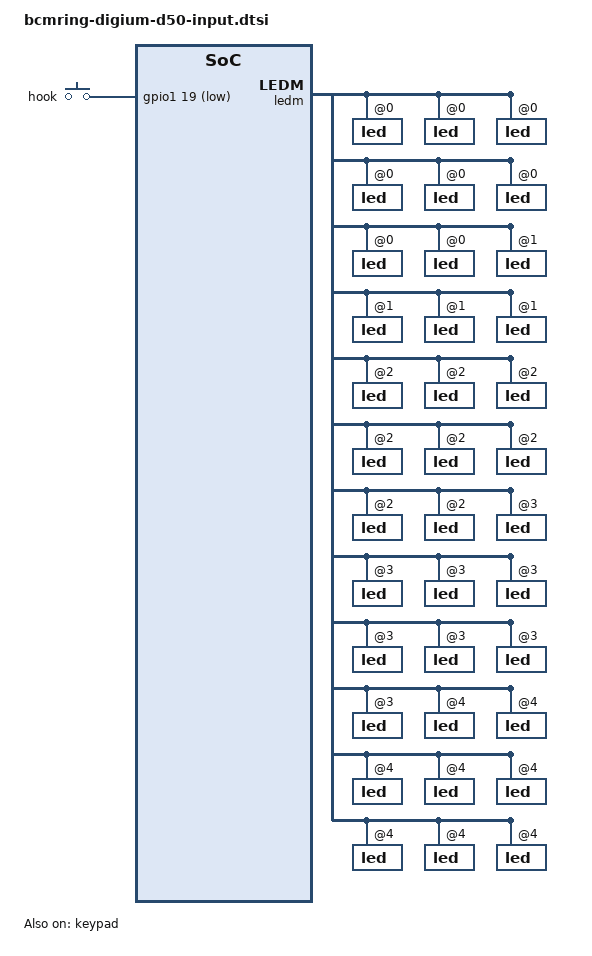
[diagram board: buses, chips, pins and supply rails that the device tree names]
// SPDX-License-Identifier: (GPL-2.0-only OR BSD-2-Clause)
/*
 * Digium/Sangoma D50: keypad, hookswitch, and lamps.  FIRST DRAFT,
 * untested.
 *
 * Generated from the D50 vendor kernel (Linux 2.6.27.18):
 * BCMRING_CUSTOM_keypad_keymap (47 entries), the LED label table, and
 * the ledm/keypad platform data.
 *
 * Key codes: digium-keys.h keeps the vendor ASCII codes unless
 * DIGIUM_KEYS_PROPOSED is defined before this file is included.  The DGK_
 * names are the functions found by pressing the keys on a D60, a D40, and
 * a D50.
 */

#include <dt-bindings/leds/common.h>
#include "digium-keys.h"

&pinmux {
	/* Keypad: columns on GPIO 43, 44, 45, 46, 47, 48, 49, rows on GPIO 52, 53, 54, 55, 56, 57, 58, function 1. */
	keypad_pins: keypad-pins {
		pinctrl-single,bits =
			<0x14 0x11111000 0xfffff000>,
			<0x18 0x11110011 0xffff00ff>,
			<0x1c 0x00000111 0x00000fff>;
	};

	/* LED matrix: columns on GPIO 0..7, rows on GPIO 16..20, function 5. */
	ledm_pins: ledm-pins {
		pinctrl-single,bits =
			<0x00 0x55555555 0xffffffff>,
			<0x08 0x00055555 0x000fffff>;
	};
};

&keypad {
	pinctrl-names = "default";
	pinctrl-0 = <&keypad_pins>;
	keypad,num-rows = <7>;
	keypad,num-columns = <7>;
	status = "okay";

	/* MATRIX_KEY(row, column, code); vendor scan code = (row << 4) | column. */
	linux,keymap = <
		MATRIX_KEY(0, 0, DGK_MUTE)	/* scan 0x00, vendor 'm' (109) */
		MATRIX_KEY(0, 1, DGK_SPEAKER)	/* scan 0x01, vendor 'f' (102) */
		MATRIX_KEY(0, 2, DGK_HEADSET)	/* scan 0x02, vendor 'g' (103) */
		MATRIX_KEY(0, 3, DGK_VOLUP)	/* scan 0x03, vendor '>' (62) */
		MATRIX_KEY(0, 4, DGK_VOLDOWN)	/* scan 0x04, vendor '<' (60) */
		MATRIX_KEY(0, 5, DGK_BLF8)	/* scan 0x05, vendor 'n' (110) */
		MATRIX_KEY(0, 6, DGK_BLF1)	/* scan 0x06, vendor 'w' (119) */
		MATRIX_KEY(1, 0, DGK_TRANSFER)	/* scan 0x10, vendor 't' (116) */
		MATRIX_KEY(1, 1, DGK_SOFT1)	/* scan 0x11, vendor '(' (40) */
		MATRIX_KEY(1, 2, DGK_POUND)	/* scan 0x12, vendor '#' (35) */
		MATRIX_KEY(1, 3, DGK_0)	/* scan 0x13, vendor '0' (48) */
		MATRIX_KEY(1, 4, DGK_STAR)	/* scan 0x14, vendor '*' (42) */
		MATRIX_KEY(1, 5, DGK_BLF9)	/* scan 0x15, vendor 'o' (111) */
		MATRIX_KEY(1, 6, DGK_BLF2)	/* scan 0x16, vendor 'x' (120) */
		MATRIX_KEY(2, 0, DGK_MSGS)	/* scan 0x20, vendor 'a' (97) */
		MATRIX_KEY(2, 1, DGK_SOFT2)	/* scan 0x21, vendor 'c' (99) */
		MATRIX_KEY(2, 2, DGK_9)	/* scan 0x22, vendor '9' (57) */
		MATRIX_KEY(2, 3, DGK_8)	/* scan 0x23, vendor '8' (56) */
		MATRIX_KEY(2, 4, DGK_7)	/* scan 0x24, vendor '7' (55) */
		MATRIX_KEY(2, 5, DGK_BLF10)	/* scan 0x25, vendor 'p' (112) */
		MATRIX_KEY(2, 6, DGK_BLF3)	/* scan 0x26, vendor 'y' (121) */
		MATRIX_KEY(3, 0, DGK_HOLD)	/* scan 0x30, vendor 'h' (104) */
		MATRIX_KEY(3, 1, DGK_SOFT3)	/* scan 0x31, vendor 'e' (101) */
		MATRIX_KEY(3, 2, DGK_6)	/* scan 0x32, vendor '6' (54) */
		MATRIX_KEY(3, 3, DGK_5)	/* scan 0x33, vendor '5' (53) */
		MATRIX_KEY(3, 4, DGK_4)	/* scan 0x34, vendor '4' (52) */
		MATRIX_KEY(3, 5, DGK_INFO)	/* scan 0x35, vendor 'q' (113) */
		MATRIX_KEY(3, 6, DGK_BLF4)	/* scan 0x36, vendor 'z' (122) */
		MATRIX_KEY(4, 0, DGK_REDIAL)	/* scan 0x40, vendor 'd' (100) */
		MATRIX_KEY(4, 1, DGK_SOFT4)	/* scan 0x41, vendor ')' (41) */
		MATRIX_KEY(4, 2, DGK_3)	/* scan 0x42, vendor '3' (51) */
		MATRIX_KEY(4, 3, DGK_2)	/* scan 0x43, vendor '2' (50) */
		MATRIX_KEY(4, 4, DGK_1)	/* scan 0x44, vendor '1' (49) */
		MATRIX_KEY(4, 5, DGK_CONF)	/* scan 0x45, vendor 'r' (114) */
		MATRIX_KEY(4, 6, DGK_BLF5)	/* scan 0x46, vendor 'A' (65) */
		MATRIX_KEY(5, 0, DGK_UP)	/* scan 0x50, vendor 'U' (85) */
		MATRIX_KEY(5, 1, DGK_DOWN)	/* scan 0x51, vendor 'D' (68) */
		MATRIX_KEY(5, 2, DGK_LEFT)	/* scan 0x52, vendor 'L' (76) */
		MATRIX_KEY(5, 3, DGK_RIGHT)	/* scan 0x53, vendor 'R' (82) */
		MATRIX_KEY(5, 4, DGK_LINE4)	/* scan 0x54, vendor 'k' (107) */
		MATRIX_KEY(5, 5, DGK_LINE3)	/* scan 0x55, vendor 'u' (117) */
		MATRIX_KEY(5, 6, DGK_BLF6)	/* scan 0x56, vendor 'F' (70) */
		MATRIX_KEY(6, 0, DGK_CANCEL)	/* scan 0x60, vendor 'b' (98) */
		MATRIX_KEY(6, 1, DGK_SELECT)	/* scan 0x61, vendor 'C' (67) */
		MATRIX_KEY(6, 2, DGK_LINE2)	/* scan 0x62, vendor 'i' (105) */
		MATRIX_KEY(6, 3, DGK_LINE1)	/* scan 0x63, vendor 'j' (106) */
		MATRIX_KEY(6, 5, DGK_BLF7)	/* scan 0x65, vendor 'v' (118) */
	>;
};

/ {
	hook-switch {
		compatible = "gpio-keys";

		key-hook {
			label = "hook";
			/*
			 * GPIO 51: bank 1, line 19.  Vendor reports !level.
			 * Pressed (low) = handset on the cradle; lifting it
			 * releases the key (key presses on a D60 and a D40).
			 */
			gpios = <&gpio1 19 GPIO_ACTIVE_LOW>;
			linux,code = <DGK_HOOK>;
			/* Vendor: 2 jiffies at HZ=100. */
			debounce-interval = <20>;
		};
	};
};

&ledm {
	pinctrl-names = "default";
	pinctrl-0 = <&ledm_pins>;
	/* The vendor driver always programs a 5 x 8 scan in parallel mode. */
	brcm,scan-rows = <5>;
	brcm,scan-columns = <8>;
	brcm,clk-div = <2>;
	brcm,res-div = <100>;
	brcm,on-time = <2500>;
	brcm,guard-time = <5>;
	status = "okay";


	led@0,0 {
		/* vendor "line0-green", table index 0 */
		reg = <0 0>;
		color = <LED_COLOR_ID_GREEN>;
		function = "line";
		function-enumerator = <0>;
	};

	led@0,1 {
		/* vendor "line0-red", table index 1 */
		reg = <0 1>;
		color = <LED_COLOR_ID_RED>;
		function = "line";
		function-enumerator = <0>;
	};

	led@0,2 {
		/* vendor "line1-green", table index 2 */
		reg = <0 2>;
		color = <LED_COLOR_ID_GREEN>;
		function = "line";
		function-enumerator = <1>;
	};

	led@0,3 {
		/* vendor "line1-red", table index 3 */
		reg = <0 3>;
		color = <LED_COLOR_ID_RED>;
		function = "line";
		function-enumerator = <1>;
	};

	led@0,4 {
		/* vendor "line2-green", table index 4 */
		reg = <0 4>;
		color = <LED_COLOR_ID_GREEN>;
		function = "line";
		function-enumerator = <2>;
	};

	led@0,5 {
		/* vendor "line2-red", table index 5 */
		reg = <0 5>;
		color = <LED_COLOR_ID_RED>;
		function = "line";
		function-enumerator = <2>;
	};

	led@0,6 {
		/* vendor "line3-green", table index 6 */
		reg = <0 6>;
		color = <LED_COLOR_ID_GREEN>;
		function = "line";
		function-enumerator = <3>;
	};

	led@0,7 {
		/* vendor "line3-red", table index 7 */
		reg = <0 7>;
		color = <LED_COLOR_ID_RED>;
		function = "line";
		function-enumerator = <3>;
	};

	led@1,0 {
		/* vendor "msg-green", table index 8 */
		reg = <1 0>;
		color = <LED_COLOR_ID_GREEN>;
		function = LED_FUNCTION_MAIL;
	};

	led@1,1 {
		/* vendor "msg-red", table index 9 */
		reg = <1 1>;
		color = <LED_COLOR_ID_RED>;
		function = LED_FUNCTION_MAIL;
	};

	led@1,2 {
		/* vendor "mute-green", table index 10 */
		reg = <1 2>;
		color = <LED_COLOR_ID_GREEN>;
		function = LED_FUNCTION_MUTE;
	};

	led@1,3 {
		/* vendor "mute-red", table index 11 */
		reg = <1 3>;
		color = <LED_COLOR_ID_RED>;
		function = LED_FUNCTION_MUTE;
	};

	led@2,0 {
		/* vendor "headset-green", table index 16 */
		reg = <2 0>;
		color = <LED_COLOR_ID_GREEN>;
		function = "headset";
	};

	led@2,1 {
		/* vendor "headset-red", table index 17 */
		reg = <2 1>;
		color = <LED_COLOR_ID_RED>;
		function = "headset";
	};

	led@2,2 {
		/* vendor "speaker-green", table index 18 */
		reg = <2 2>;
		color = <LED_COLOR_ID_GREEN>;
		function = "speaker";
	};

	led@2,3 {
		/* vendor "speaker-red", table index 19 */
		reg = <2 3>;
		color = <LED_COLOR_ID_RED>;
		function = "speaker";
	};

	led@2,4 {
		/* vendor "blf0-green", table index 20 */
		reg = <2 4>;
		color = <LED_COLOR_ID_GREEN>;
		function = "blf";
		function-enumerator = <0>;
	};

	led@2,5 {
		/* vendor "blf0-red", table index 21 */
		reg = <2 5>;
		color = <LED_COLOR_ID_RED>;
		function = "blf";
		function-enumerator = <0>;
	};

	led@2,6 {
		/* vendor "blf1-green", table index 22 */
		reg = <2 6>;
		color = <LED_COLOR_ID_GREEN>;
		function = "blf";
		function-enumerator = <1>;
	};

	led@2,7 {
		/* vendor "blf1-red", table index 23 */
		reg = <2 7>;
		color = <LED_COLOR_ID_RED>;
		function = "blf";
		function-enumerator = <1>;
	};

	led@3,0 {
		/* vendor "blf2-green", table index 24 */
		reg = <3 0>;
		color = <LED_COLOR_ID_GREEN>;
		function = "blf";
		function-enumerator = <2>;
	};

	led@3,1 {
		/* vendor "blf2-red", table index 25 */
		reg = <3 1>;
		color = <LED_COLOR_ID_RED>;
		function = "blf";
		function-enumerator = <2>;
	};

	led@3,2 {
		/* vendor "blf3-green", table index 26 */
		reg = <3 2>;
		color = <LED_COLOR_ID_GREEN>;
		function = "blf";
		function-enumerator = <3>;
	};

	led@3,3 {
		/* vendor "blf3-red", table index 27 */
		reg = <3 3>;
		color = <LED_COLOR_ID_RED>;
		function = "blf";
		function-enumerator = <3>;
	};

	led@3,4 {
		/* vendor "blf4-green", table index 28 */
		reg = <3 4>;
		color = <LED_COLOR_ID_GREEN>;
		function = "blf";
		function-enumerator = <4>;
	};

	led@3,5 {
		/* vendor "blf4-red", table index 29 */
		reg = <3 5>;
		color = <LED_COLOR_ID_RED>;
		function = "blf";
		function-enumerator = <4>;
	};

	led@3,6 {
		/* vendor "blf5-green", table index 30 */
		reg = <3 6>;
		color = <LED_COLOR_ID_GREEN>;
		function = "blf";
		function-enumerator = <5>;
	};

	led@3,7 {
		/* vendor "blf5-red", table index 31 */
		reg = <3 7>;
		color = <LED_COLOR_ID_RED>;
		function = "blf";
		function-enumerator = <5>;
	};

	led@4,0 {
		/* vendor "blf6-green", table index 32 */
		reg = <4 0>;
		color = <LED_COLOR_ID_GREEN>;
		function = "blf";
		function-enumerator = <6>;
	};

	led@4,1 {
		/* vendor "blf6-red", table index 33 */
		reg = <4 1>;
		color = <LED_COLOR_ID_RED>;
		function = "blf";
		function-enumerator = <6>;
	};

	led@4,2 {
		/* vendor "blf7-green", table index 34 */
		reg = <4 2>;
		color = <LED_COLOR_ID_GREEN>;
		function = "blf";
		function-enumerator = <7>;
	};

	led@4,3 {
		/* vendor "blf7-red", table index 35 */
		reg = <4 3>;
		color = <LED_COLOR_ID_RED>;
		function = "blf";
		function-enumerator = <7>;
	};

	led@4,4 {
		/* vendor "blf8-green", table index 36 */
		reg = <4 4>;
		color = <LED_COLOR_ID_GREEN>;
		function = "blf";
		function-enumerator = <8>;
	};

	led@4,5 {
		/* vendor "blf8-red", table index 37 */
		reg = <4 5>;
		color = <LED_COLOR_ID_RED>;
		function = "blf";
		function-enumerator = <8>;
	};

	led@4,6 {
		/* vendor "blf9-green", table index 38 */
		reg = <4 6>;
		color = <LED_COLOR_ID_GREEN>;
		function = "blf";
		function-enumerator = <9>;
	};

	led@4,7 {
		/* vendor "blf9-red", table index 39 */
		reg = <4 7>;
		color = <LED_COLOR_ID_RED>;
		function = "blf";
		function-enumerator = <9>;
	};

	/*
	 * Positions the vendor table leaves as unnamed SDK placeholders, not
	 * described here: 1,4 (LED12), 1,5 (LED13), 1,6 (LED14), 1,7 (LED15).
	 */
};
